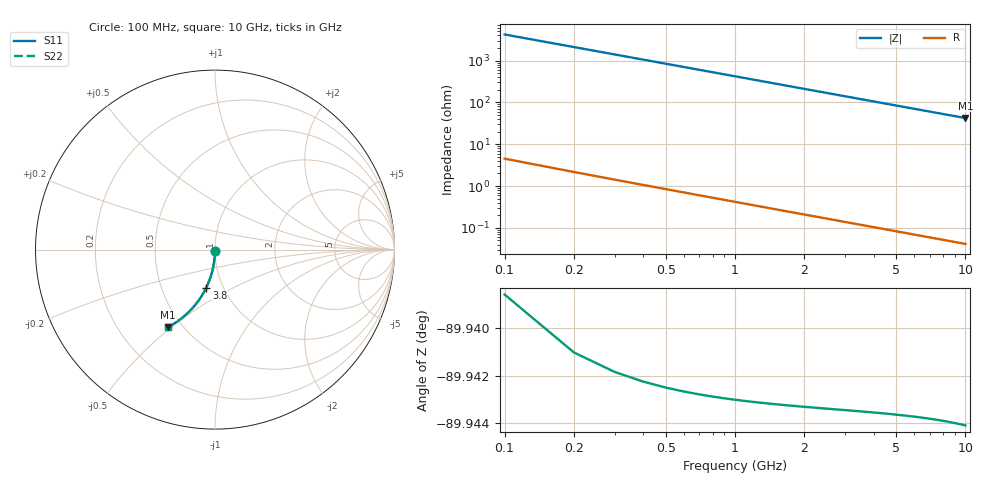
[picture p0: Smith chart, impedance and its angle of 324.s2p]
# Hz S RI R 50.00
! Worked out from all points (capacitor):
!   100 points, 100 MHz to 10 GHz, reference 50 ohm
!   read as one part in shunt: C = 377 fF near 100 MHz
!   lowest |Z| = 42.4 ohm at 10 GHz (marker M1)
!   S11 on the Smith chart (normalised r, x): 100 MHz: 1.00, -0.01; 3.8 GHz: 0.83, -0.37; 10 GHz: 0.42, -0.49
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1e8  -1.67e-05 -0.00585  0.9999 -0.006  0.9999 -0.006  -1.67e-05 -0.00585
2e8  -0.000128 -0.0117  0.9998 -0.012  0.9998 -0.012  -0.000128 -0.0117
3e8  -0.000309 -0.0175  0.9996 -0.018  0.9996 -0.018  -0.000309 -0.0175
4e8  -0.00056 -0.0234  0.9994 -0.024  0.9994 -0.024  -0.00056 -0.0234
5e8  -0.000881 -0.0292  0.9991 -0.03  0.9991 -0.03  -0.000881 -0.0292
6e8  -0.00127 -0.035  0.9987 -0.036  0.9987 -0.036  -0.00127 -0.035
7e8  -0.00173 -0.0409  0.9982 -0.0419  0.9982 -0.0419  -0.00173 -0.0409
8e8  -0.00226 -0.0467  0.9977 -0.0479  0.9977 -0.0479  -0.00226 -0.0467
9e8  -0.00286 -0.0525  0.9971 -0.0539  0.9971 -0.0539  -0.00286 -0.0525
1.1e9  -0.00427 -0.0641  0.9957 -0.0657  0.9957 -0.0657  -0.00427 -0.0641
1.4e9  -0.00689 -0.0813  0.9931 -0.0834  0.9931 -0.0834  -0.00689 -0.0813
1.8e9  -0.0113 -0.1041  0.9886 -0.1068  0.9886 -0.1068  -0.0113 -0.1041
2.1e9  -0.0153 -0.1209  0.9846 -0.1241  0.9846 -0.1241  -0.0153 -0.1209
2.5e9  -0.0216 -0.143  0.9784 -0.1468  0.9784 -0.1468  -0.0216 -0.143
2.9e9  -0.0288 -0.1646  0.9711 -0.1691  0.9711 -0.1691  -0.0288 -0.1646
3.4e9  -0.0391 -0.1909  0.9608 -0.1961  0.9608 -0.1961  -0.0391 -0.1909
3.8e9  -0.0484 -0.2113  0.9515 -0.2171  0.9515 -0.2171  -0.0484 -0.2113
4.4e9  -0.0638 -0.2406  0.9361 -0.2474  0.9361 -0.2474  -0.0638 -0.2406
5.1e9  -0.0839 -0.2729  0.916 -0.2807  0.916 -0.2807  -0.0839 -0.2729
6.7e9  -0.1364 -0.3376  0.8635 -0.3479  0.8635 -0.3479  -0.1364 -0.3376
8.4e9  -0.1988 -0.3922  0.8011 -0.4051  0.8011 -0.4051  -0.1988 -0.3922
1e10  -0.2601 -0.4305  0.7397 -0.446  0.7397 -0.446  -0.2601 -0.4305
